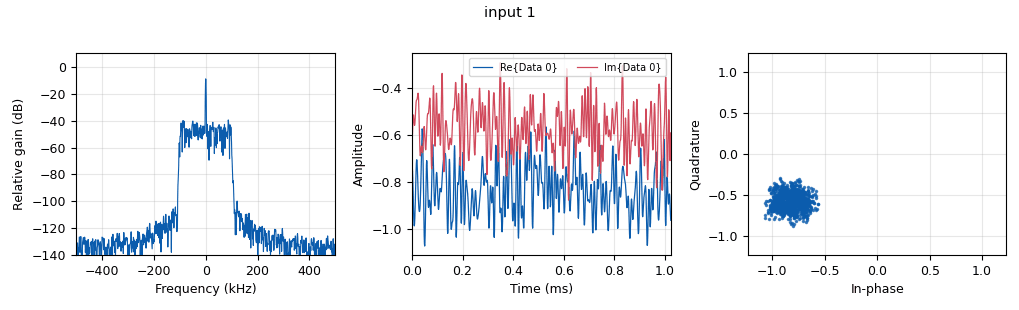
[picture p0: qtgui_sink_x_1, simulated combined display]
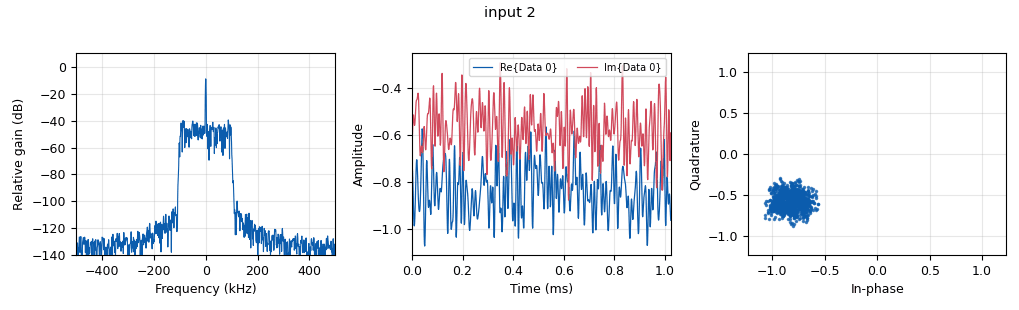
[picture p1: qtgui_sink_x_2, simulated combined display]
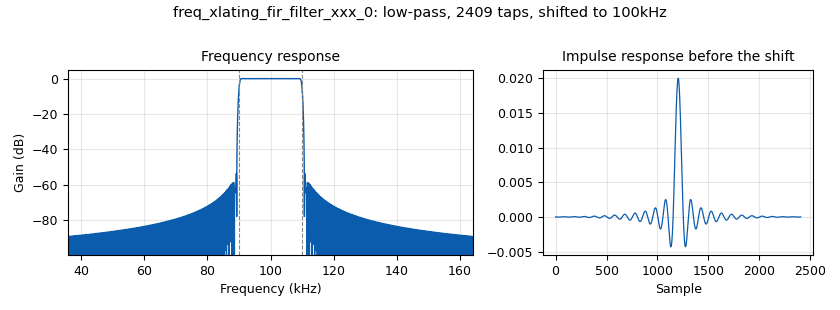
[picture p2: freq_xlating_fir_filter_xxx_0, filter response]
options:
  parameters:
    author: nivkarasenty
    generate_options: qt_gui
    id: Reciever
    output_language: python
    title: Not titled yet
  states: {}

blocks:
- name: center_freq
  id: variable
  parameters:
    value: 2.4e9
  states: {}
- name: d
  id: variable
  parameters:
    value: '0.062'
  states: {}
- name: moving_average
  id: variable
  parameters:
    value: 5e3
  states: {}
- name: phase
  id: variable_qtgui_range
  parameters:
    start: '-(2*np.pi*d)/0.125'
    step: '0.01'
    stop: (2*np.pi*d)/0.125
    value: '0'
  states: {}
- name: samp_rate
  id: variable
  parameters:
    value: 1e6
  states: {}
- name: tone_freq
  id: variable
  parameters:
    value: 100e3
  states: {}
- name: AoA_mod_phase_to_angle_0
  id: AoA_mod_phase_to_angle
  parameters:
    center_freq: center_freq
    d: d
    samp_rate: samp_rate
    tone_freq: tone_freq
  states: {}
- name: analog_noise_source_x_0
  id: analog_noise_source_x
  parameters:
    amp: '1'
    noise_type: analog.GR_GAUSSIAN
    seed: '0'
    type: complex
  states: {}
- name: analog_sig_source_x_0
  id: analog_sig_source_x
  parameters:
    amp: '1'
    freq: tone_freq
    offset: '0'
    phase: '0'
    samp_rate: samp_rate
    type: complex
    waveform: analog.GR_COS_WAVE
  states: {}
- name: blocks_add_xx_0
  id: blocks_add_xx
  parameters:
    type: complex
  states: {}
- name: blocks_complex_to_arg_0
  id: blocks_complex_to_arg
  parameters: {}
  states: {}
- name: blocks_conjugate_cc_0
  id: blocks_conjugate_cc
  parameters: {}
  states: {}
- name: blocks_moving_average_xx_0
  id: blocks_moving_average_xx
  parameters:
    length: int(moving_average)
    max_iter: '4000'
    scale: 1/moving_average
    type: float
  states: {}
- name: blocks_multiply_xx_0
  id: blocks_multiply_xx
  parameters:
    type: complex
  states: {}
- name: blocks_phase_shift_0
  id: blocks_phase_shift
  parameters:
    is_radians: 'True'
    shift: phase
  states: {}
- name: freq_xlating_fir_filter_xxx_0
  id: freq_xlating_fir_filter_xxx
  parameters:
    center_freq: tone_freq
    decim: '10'
    samp_rate: samp_rate
    taps: firdes.low_pass(1.0, samp_rate, 10e3, 1e3)
    type: ccc
  states: {}
- name: freq_xlating_fir_filter_xxx_1
  id: freq_xlating_fir_filter_xxx
  parameters:
    center_freq: tone_freq
    decim: '10'
    samp_rate: samp_rate
    taps: firdes.low_pass(1.0, samp_rate, 10e3, 1e3)
    type: ccc
  states: {}
- name: import_0
  id: import
  parameters:
    imports: import numpy as np
  states: {}
- name: qtgui_number_sink_0
  id: qtgui_number_sink
  parameters:
    graph_type: qtgui.NUM_GRAPH_HORIZ
    max: '90'
    min: '-90'
    type: float
  states: {}
- name: qtgui_sink_x_1
  id: qtgui_sink_x
  parameters:
    bw: samp_rate
    fc: '0'
    fftsize: '1024'
    name: '"input 1"'
    type: complex
  states: {}
- name: qtgui_sink_x_2
  id: qtgui_sink_x
  parameters:
    bw: samp_rate
    fc: '0'
    fftsize: '1024'
    name: '"input 2"'
    type: complex
  states: {}

connections:
- [AoA_mod_phase_to_angle_0, '0', qtgui_number_sink_0, '0']
- [analog_noise_source_x_0, '0', blocks_add_xx_0, '1']
- [analog_sig_source_x_0, '0', blocks_add_xx_0, '0']
- [blocks_add_xx_0, '0', blocks_phase_shift_0, '0']
- [blocks_add_xx_0, '0', freq_xlating_fir_filter_xxx_0, '0']
- [blocks_complex_to_arg_0, '0', blocks_moving_average_xx_0, '0']
- [blocks_conjugate_cc_0, '0', blocks_multiply_xx_0, '1']
- [blocks_moving_average_xx_0, '0', AoA_mod_phase_to_angle_0, '0']
- [blocks_multiply_xx_0, '0', blocks_complex_to_arg_0, '0']
- [blocks_phase_shift_0, '0', freq_xlating_fir_filter_xxx_1, '0']
- [freq_xlating_fir_filter_xxx_0, '0', blocks_multiply_xx_0, '0']
- [freq_xlating_fir_filter_xxx_0, '0', qtgui_sink_x_1, '0']
- [freq_xlating_fir_filter_xxx_1, '0', blocks_conjugate_cc_0, '0']
- [freq_xlating_fir_filter_xxx_1, '0', qtgui_sink_x_2, '0']

metadata:
  file_format: 1
  grc_version: 3.10.12.0
